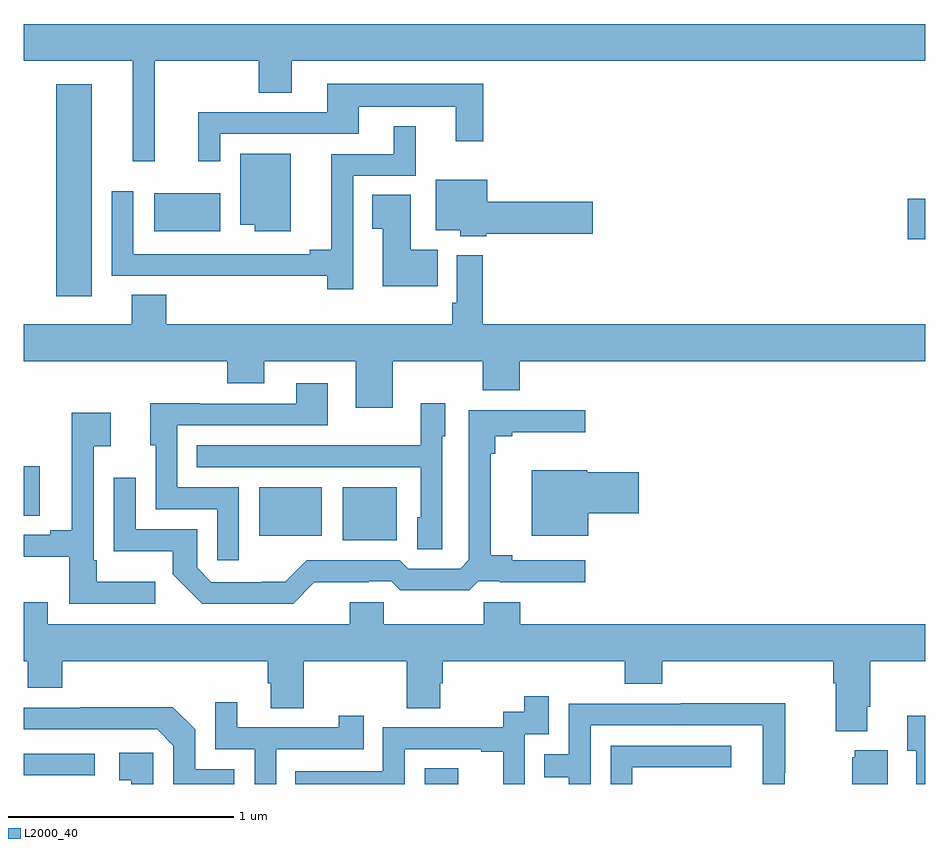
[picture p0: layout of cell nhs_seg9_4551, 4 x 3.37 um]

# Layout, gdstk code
import gdstk
lib = gdstk.Library(unit=1e-6, precision=1e-09)
def R(c, l, rs):  # rectangles x0, y0, x1, y1
    for r in rs: c.add(gdstk.rectangle(r[:2], r[2:], *l))
def P(c, l, *ps):  # polygons
    for p in ps: c.add(gdstk.Polygon(p, *l))
L2000_40 = (2000, 40)

nhs_seg9_4551 = lib.new_cell('nhs_seg9_4551')
R(nhs_seg9_4551, L2000_40, [(372.78,1238.5,372.928,1238.569), (371,1238.538,371.314,1238.634), (372.416,1239.581,372.655,1239.817), (372.044,1239.602,372.322,1239.817), (371,1239.691,371.071,1239.91), (371.144,1240.665,371.302,1241.605), (374.922,1240.918,375,1241.096), (371.579,1240.952,371.872,1241.122)])
P(nhs_seg9_4551, L2000_40, [(371.582,1241.708),(372.043,1241.708),(372.043,1241.566),(372.19,1241.566),(372.19,1241.708),(375,1241.708),(375,1241.872),(371,1241.872),(371,1241.708),(371.483,1241.708),(371.483,1241.262),(371.582,1241.262)],
  [(371.871,1241.385),(372.487,1241.385),(372.487,1241.504),(372.917,1241.504),(372.917,1241.352),(373.039,1241.352),(373.039,1241.608),(372.347,1241.608),(372.347,1241.481),(371.774,1241.481),(371.774,1241.262),(371.871,1241.262)],
  [(372.462,1241.199),(372.739,1241.199),(372.739,1241.419),(372.641,1241.419),(372.641,1241.295),(372.365,1241.295),(372.365,1240.871),(372.269,1240.871),(372.269,1240.851),(371.487,1240.851),(371.487,1241.131),(371.391,1241.131),(371.391,1240.755),(371.716,1240.755),(371.716,1240.754),(372.346,1240.754),(372.346,1240.695),(372.462,1240.695)],
  [(372.184,1241.296),(371.96,1241.296),(371.96,1240.982),(372.026,1240.982),(372.026,1240.952),(372.184,1240.952)],
  [(373.053,1240.942),(373.525,1240.942),(373.525,1241.084),(373.057,1241.084),(373.057,1241.182),(372.827,1241.182),(372.827,1240.958),(372.936,1240.958),(372.936,1240.931),(373.053,1240.931)],
  [(372.836,1240.87),(372.718,1240.87),(372.718,1241.114),(372.547,1241.114),(372.547,1240.963),(372.593,1240.963),(372.593,1240.709),(372.836,1240.709)],
  [(372.637,1240.376),(373.037,1240.376),(373.037,1240.248),(373.201,1240.248),(373.201,1240.376),(375,1240.376),(375,1240.54),(373.037,1240.54),(373.037,1240.846),(372.921,1240.846),(372.921,1240.636),(372.901,1240.636),(372.901,1240.54),(371.633,1240.54),(371.633,1240.67),(371.48,1240.67),(371.48,1240.54),(371,1240.54),(371,1240.376),(371.903,1240.376),(371.903,1240.277),(372.067,1240.277),(372.067,1240.376),(372.473,1240.376),(372.473,1240.17),(372.637,1240.17)],
  [(371.955,1239.816),(371.682,1239.816),(371.682,1240.092),(372.349,1240.092),(372.349,1240.279),(372.209,1240.279),(372.209,1240.188),(371.779,1240.188),(371.779,1240.19),(371.561,1240.19),(371.561,1240.002),(371.586,1240.002),(371.586,1239.72),(371.859,1239.72),(371.859,1239.492),(371.955,1239.492)],
  [(372.858,1240.044),(372.871,1240.044),(372.871,1240.189),(372.762,1240.189),(372.762,1240.003),(372.445,1240.003),(372.445,1240.002),(371.767,1240.002),(371.767,1239.906),(372.762,1239.906),(372.762,1239.684),(372.746,1239.684),(372.746,1239.541),(372.858,1239.541)],
  [(372.29,1239.395),(372.53,1239.395),(372.53,1239.399),(372.63,1239.399),(372.67,1239.36),(372.977,1239.36),(373.017,1239.399),(373.111,1239.399),(373.111,1239.395),(373.492,1239.395),(373.492,1239.492),(373.168,1239.492),(373.168,1239.515),(373.073,1239.515),(373.073,1239.965),(373.091,1239.965),(373.091,1240.042),(373.168,1240.042),(373.168,1240.061),(373.492,1240.061),(373.492,1240.158),(372.975,1240.158),(372.975,1239.495),(372.936,1239.456),(372.705,1239.456),(372.669,1239.492),(372.255,1239.492),(372.161,1239.398),(372.056,1239.398),(372.056,1239.396),(371.832,1239.396),(371.769,1239.459),(371.769,1239.63),(371.496,1239.63),(371.496,1239.859),(371.4,1239.859),(371.4,1239.533),(371.662,1239.533),(371.662,1239.431),(371.792,1239.3),(372.195,1239.3)],
  [(371.584,1239.397),(371.323,1239.397),(371.323,1239.493),(371.31,1239.493),(371.31,1239.998),(371.386,1239.998),(371.386,1240.147),(371.213,1240.147),(371.213,1239.625),(371.117,1239.625),(371.117,1239.606),(371,1239.606),(371,1239.509),(371.202,1239.509),(371.202,1239.3),(371.584,1239.3)],
  [(373.504,1239.701),(373.729,1239.701),(373.729,1239.884),(373.5,1239.884),(373.5,1239.892),(373.253,1239.892),(373.253,1239.602),(373.504,1239.602)],
  [(374.743,1238.842),(374.756,1238.842),(374.756,1239.044),(375,1239.044),(375,1239.208),(373.202,1239.208),(373.202,1239.306),(373.042,1239.306),(373.042,1239.208),(372.597,1239.208),(372.597,1239.306),(372.446,1239.306),(372.446,1239.208),(371.107,1239.208),(371.107,1239.307),(371,1239.307),(371,1239.044),(371.018,1239.044),(371.018,1238.927),(371.171,1238.927),(371.171,1239.044),(372.083,1239.044),(372.083,1238.946),(372.095,1238.946),(372.095,1238.836),(372.243,1238.836),(372.243,1239.044),(372.7,1239.044),(372.7,1238.836),(372.847,1238.836),(372.847,1238.946),(372.86,1238.946),(372.86,1239.044),(373.667,1239.044),(373.667,1238.945),(373.832,1238.945),(373.832,1239.044),(374.591,1239.044),(374.591,1238.948),(374.603,1238.948),(374.603,1238.735),(374.743,1238.735)],
  [(372.69,1238.655),(373.031,1238.655),(373.031,1238.643),(373.127,1238.643),(373.127,1238.5),(373.224,1238.5),(373.224,1238.721),(373.329,1238.721),(373.329,1238.89),(373.221,1238.89),(373.221,1238.82),(373.128,1238.82),(373.128,1238.751),(372.594,1238.751),(372.594,1238.556),(372.205,1238.556),(372.205,1238.5),(372.69,1238.5)],
  [(372.12,1238.655),(372.509,1238.655),(372.509,1238.803),(372.398,1238.803),(372.398,1238.751),(371.947,1238.751),(371.947,1238.863),(371.85,1238.863),(371.85,1238.655),(372.024,1238.655),(372.024,1238.5),(372.12,1238.5)],
  [(373.515,1238.76),(374.279,1238.76),(374.279,1238.506),(374.28,1238.506),(374.28,1238.5),(374.376,1238.5),(374.376,1238.551),(374.379,1238.551),(374.379,1238.858),(373.915,1238.858),(373.915,1238.856),(373.419,1238.856),(373.419,1238.631),(373.309,1238.631),(373.309,1238.53),(373.419,1238.53),(373.419,1238.5),(373.515,1238.5)],
  [(371.934,1238.565),(371.76,1238.565),(371.76,1238.742),(371.662,1238.84),(371.254,1238.84),(371.254,1238.838),(371,1238.838),(371,1238.742),(371.592,1238.742),(371.664,1238.67),(371.664,1238.5),(371.934,1238.5)],
  [(375,1238.803),(374.921,1238.803),(374.921,1238.647),(374.961,1238.647),(374.961,1238.5),(375,1238.5)],
  [(373.701,1238.574),(374.14,1238.574),(374.14,1238.67),(373.605,1238.67),(373.605,1238.5),(373.701,1238.5)],
  [(374.833,1238.65),(374.687,1238.65),(374.687,1238.619),(374.675,1238.619),(374.675,1238.5),(374.833,1238.5)],
  [(371.574,1238.638),(371.424,1238.638),(371.424,1238.517),(371.477,1238.517),(371.477,1238.5),(371.574,1238.5)])

lib.write_gds('nhs_seg9_4551.gds')
